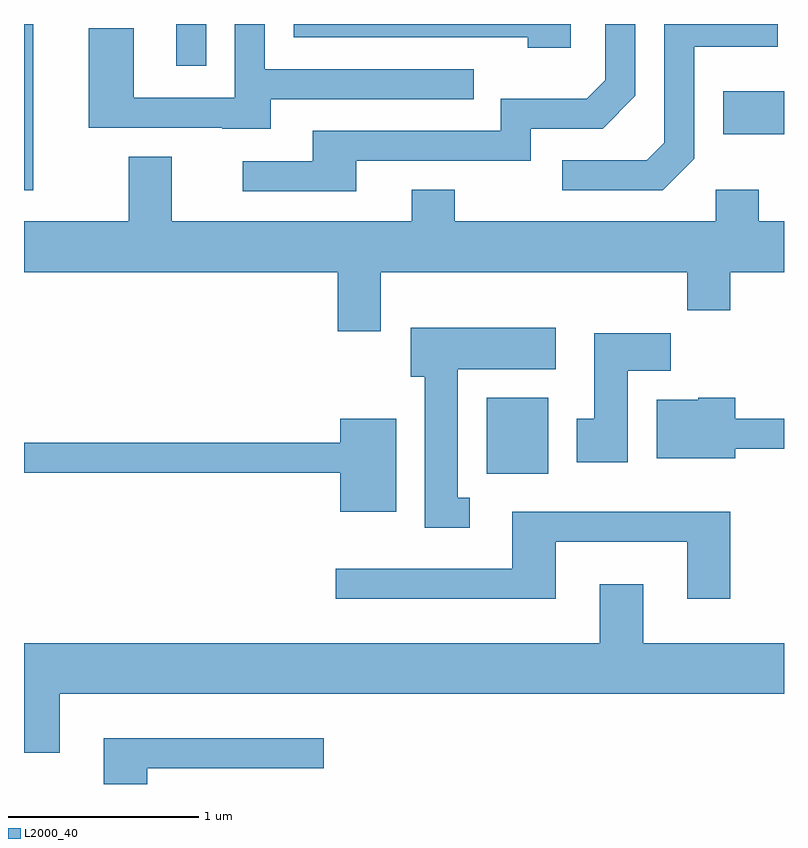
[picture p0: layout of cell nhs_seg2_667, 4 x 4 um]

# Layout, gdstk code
import gdstk
lib = gdstk.Library(unit=1e-6, precision=1e-09)
def R(c, l, rs):  # rectangles x0, y0, x1, y1
    for r in rs: c.add(gdstk.rectangle(r[:2], r[2:], *l))
def P(c, l, *ps):  # polygons
    for p in ps: c.add(gdstk.Polygon(p, *l))
L2000_40 = (2000, 40)

nhs_seg2_667 = lib.new_cell('nhs_seg2_667')
R(nhs_seg2_667, L2000_40, [(206.046,1089.436,206.369,1089.834), (203.611,1090.926,203.659,1091.802), (207.291,1091.221,207.611,1091.449), (204.411,1091.583,204.569,1091.802)])
P(nhs_seg2_667, L2000_40, [(206.489,1091.802),(205.031,1091.802),(205.031,1091.731),(206.261,1091.731),(206.261,1091.676),(206.489,1091.676)],
  [(207.139,1091.094),(207.139,1091.681),(207.579,1091.681),(207.579,1091.802),(206.981,1091.802),(206.981,1091.177),(206.889,1091.084),(206.443,1091.084),(206.443,1090.926),(206.972,1090.926)],
  [(205.359,1091.081),(206.279,1091.081),(206.279,1091.251),(206.657,1091.251),(206.829,1091.424),(206.829,1091.802),(206.671,1091.802),(206.671,1091.507),(206.574,1091.409),(206.121,1091.409),(206.121,1091.239),(205.131,1091.239),(205.131,1091.079),(204.763,1091.079),(204.763,1090.921),(205.359,1090.921)],
  [(204.909,1091.406),(205.978,1091.406),(205.978,1091.564),(204.879,1091.564),(204.879,1091.802),(204.721,1091.802),(204.721,1091.414),(204.189,1091.414),(204.189,1091.779),(203.951,1091.779),(203.951,1091.256),(204.655,1091.256),(204.655,1091.251),(204.909,1091.251)],
  [(205.489,1090.496),(207.101,1090.496),(207.101,1090.296),(207.329,1090.296),(207.329,1090.496),(207.611,1090.496),(207.611,1090.764),(207.479,1090.764),(207.479,1090.929),(207.251,1090.929),(207.251,1090.764),(205.879,1090.764),(205.879,1090.929),(205.651,1090.929),(205.651,1090.764),(204.389,1090.764),(204.389,1091.104),(204.161,1091.104),(204.161,1090.764),(203.611,1090.764),(203.611,1090.496),(205.261,1090.496),(205.261,1090.186),(205.489,1090.186)],
  [(205.958,1089.309),(205.894,1089.309),(205.894,1089.986),(206.409,1089.986),(206.409,1090.204),(205.646,1090.204),(205.646,1089.946),(205.721,1089.946),(205.721,1089.151),(205.958,1089.151)],
  [(206.789,1089.976),(207.014,1089.976),(207.014,1090.174),(206.611,1090.174),(206.611,1089.724),(206.521,1089.724),(206.521,1089.496),(206.789,1089.496)],
  [(207.354,1089.566),(207.611,1089.566),(207.611,1089.724),(207.354,1089.724),(207.354,1089.834),(207.16,1089.834),(207.16,1089.824),(206.941,1089.824),(206.941,1089.516),(207.354,1089.516)],
  [(205.569,1089.724),(205.276,1089.724),(205.276,1089.599),(203.611,1089.599),(203.611,1089.441),(205.276,1089.441),(205.276,1089.236),(205.569,1089.236)],
  [(206.409,1089.076),(207.101,1089.076),(207.101,1088.776),(207.329,1088.776),(207.329,1089.234),(206.181,1089.234),(206.181,1088.934),(205.253,1088.934),(205.253,1088.776),(206.409,1088.776)],
  [(203.799,1088.276),(207.611,1088.276),(207.611,1088.544),(206.869,1088.544),(206.869,1088.854),(206.641,1088.854),(206.641,1088.544),(203.611,1088.544),(203.611,1087.966),(203.799,1087.966)],
  [(204.259,1087.886),(205.188,1087.886),(205.188,1088.044),(204.031,1088.044),(204.031,1087.802),(204.259,1087.802)])

lib.write_gds('nhs_seg2_667.gds')
